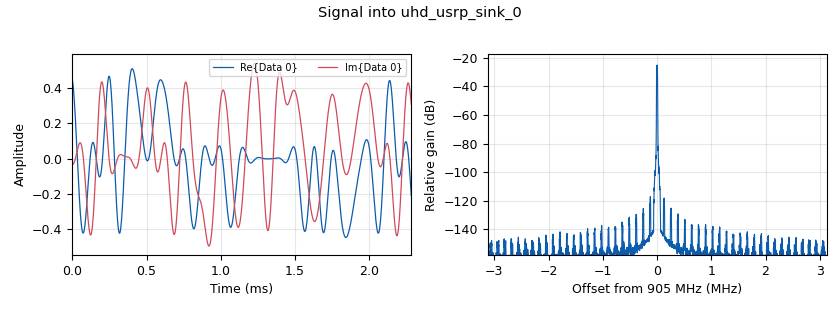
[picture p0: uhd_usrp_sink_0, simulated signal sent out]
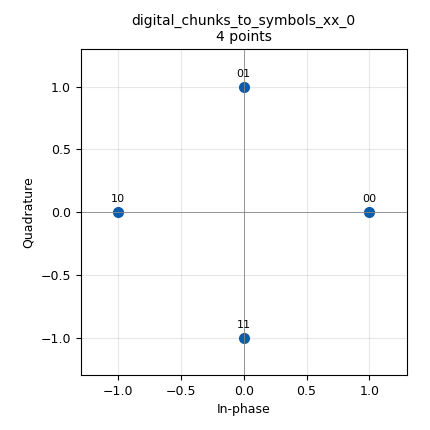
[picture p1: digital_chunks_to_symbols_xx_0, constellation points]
options:
  parameters:
    author: Grupo A1-GG
    description: Solo transmision. Vector Source con mensaje conocido, QPSK (1, j, -1, -j), RRC de energia unitaria, adaptacion de tasa a 250 kS/s y osmocom Sink (UHD) a 910 MHz. Sin canal simulado ni receptor.
    generate_options: qt_gui
    id: QPSK_DCI_Fase3_Tx_USRP2920
    output_language: python
    title: Fase 3 - Transmisor QPSK (DCI) con USRP-2920 a 910 MHz
  states: {}

blocks:
- name: M
  id: variable
  parameters:
    value: len(tabla_de_verdad_constelacion)
  states: {}
- name: Rb
  id: variable
  parameters:
    value: Rs*bps
  states: {}
- name: Rs
  id: variable
  parameters:
    value: '16000'
  states: {}
- name: Sps
  id: variable
  parameters:
    value: '8'
  states: {}
- name: amp_tx
  id: variable_qtgui_range
  parameters:
    gui_hint: 1,1,1,1
    label: '"Amplitud digital"'
    start: '0'
    step: '0.05'
    stop: '1.8'
    value: '1.0'
  states: {}
- name: beta
  id: variable
  parameters:
    value: '0.35'
  states: {}
- name: bps
  id: variable
  parameters:
    value: int(math.log(M,2))
  states: {}
- name: decim_usrp
  id: variable
  parameters:
    value: int(samp_rate/math.gcd(int(samp_rate_usrp),int(samp_rate)))
  states: {}
- name: fc
  id: variable
  parameters:
    value: 905e6
  states: {}
- name: ganancia_tx
  id: variable_qtgui_range
  parameters:
    gui_hint: 1,0,1,1
    label: '"Ganancia Tx [dB]"'
    start: '-10'
    step: '0.5'
    stop: '10'
    value: '0'
  states: {}
- name: interp_usrp
  id: variable
  parameters:
    value: int(samp_rate_usrp/math.gcd(int(samp_rate_usrp),int(samp_rate)))
  states: {}
- name: lbl_fc
  id: variable_qtgui_label
  parameters:
    gui_hint: 1,2,1,1
    label: '"Portadora [MHz]"'
    type: real
    value: fc/1e6
  states: {}
- name: lbl_mensaje_tx
  id: variable_qtgui_label
  parameters:
    gui_hint: 0,0,1,3
    label: '"Mensaje transmitido"'
    type: string
    value: mensaje
  states: {}
- name: mensaje
  id: variable
  parameters:
    value: '"UIS - Comunicaciones II - Grupo A1-GG - Enlace QPSK DCI. "'
  states: {}
- name: ntaps
  id: variable
  parameters:
    value: span*Sps+1
  states: {}
- name: rrc_raw
  id: variable
  parameters:
    value: firdes.root_raised_cosine(1.0, samp_rate, Rs, beta, ntaps)
  states: {}
- name: rrc_taps
  id: variable
  parameters:
    value: '[t/math.sqrt(sum([x*x for x in rrc_raw])) for t in rrc_raw]'
  states: {}
- name: samp_rate
  id: variable
  parameters:
    value: Rs*Sps
  states: {}
- name: samp_rate_usrp
  id: variable
  parameters:
    value: 6.25e6
  states: {}
- name: span
  id: variable
  parameters:
    value: '11'
  states: {}
- name: tabla_de_verdad_constelacion
  id: variable
  parameters:
    value: (1+0j, 0+1j, -1+0j, 0-1j)
  states: {}
- name: usrp_args
  id: variable
  parameters:
    value: '"uhd,addr=192.168.10.2"'
  states: {}
- name: adaptacion_tasa
  id: rational_resampler_xxx
  parameters:
    decim: decim_usrp
    fbw: '0.4'
    interp: interp_usrp
    type: ccc
  states: {}
- name: bits_to_symbols
  id: blocks_repack_bits_bb
  parameters:
    endianness: gr.GR_MSB_FIRST
    k: '8'
    l: bps
  states: {}
- name: digital_chunks_to_symbols_xx_0
  id: digital_chunks_to_symbols_xx
  parameters:
    dimension: '1'
    in_type: byte
    out_type: complex
    symbol_table: tabla_de_verdad_constelacion
  states: {}
- name: escala_tx
  id: blocks_multiply_const_vxx
  parameters:
    const: amp_tx
    type: complex
  states: {}
- name: fuente_mensaje
  id: blocks_vector_source_x
  parameters:
    repeat: 'True'
    type: byte
    vector: list(mensaje.encode("ascii"))
  states: {}
- name: import_0
  id: import
  parameters:
    imports: import math
  states: {}
- name: rrc_tx
  id: interp_fir_filter_xxx
  parameters:
    interp: Sps
    taps: rrc_taps
    type: ccf
  states: {}
- name: uhd_usrp_sink_0
  id: uhd_usrp_sink
  parameters:
    ant0: '"TX/RX"'
    center_freq0: fc
    dev_addr: '"addr=192.168.10.2"'
    gain0: ganancia_tx
    otw: sc16
    samp_rate: samp_rate_usrp
    sync: none
    type: fc32
  states: {}

connections:
- [adaptacion_tasa, '0', escala_tx, '0']
- [bits_to_symbols, '0', digital_chunks_to_symbols_xx_0, '0']
- [digital_chunks_to_symbols_xx_0, '0', rrc_tx, '0']
- [escala_tx, '0', uhd_usrp_sink_0, '0']
- [fuente_mensaje, '0', bits_to_symbols, '0']
- [rrc_tx, '0', adaptacion_tasa, '0']

metadata:
  file_format: 1
  grc_version: 3.10.12.0
